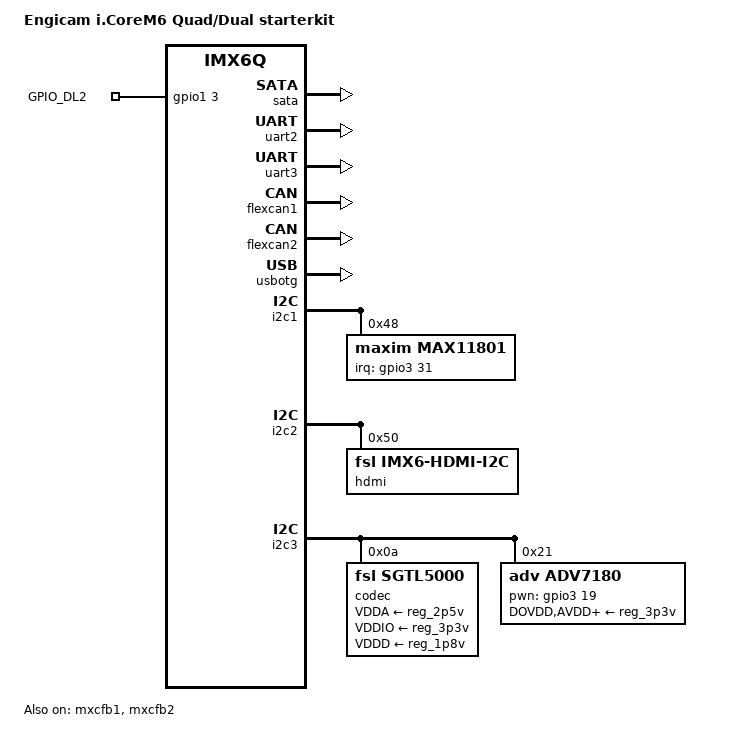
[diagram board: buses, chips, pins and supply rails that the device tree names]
/*
 * Copyright (C) 2013 Freescale Semiconductor, Inc.
 *
 * This program is free software; you can redistribute it and/or modify
 * it under the terms of the GNU General Public License version 2 as
 * published by the Free Software Foundation.
 */

/dts-v1/;

#include "imx6q.dtsi"
#include "icorem6qdl.dtsi"

/ {
	model = "Engicam i.CoreM6 Quad/Dual starterkit";
	compatible = "fsl,imx6-icore", "fsl,imx6q";

	sound {
		compatible = "fsl,imx6-icore-sgtl5000",
			     "fsl,imx-audio-sgtl5000";
		model = "imx6q-icore-sgtl5000";
		cpu-dai = <&ssi1>;
		audio-codec = <&codec>;
		audio-routing =
			"MIC_IN", "Mic Jack",
			"Mic Jack", "Mic Bias",
			"Headphone Jack", "HP_OUT";
		mux-int-port = <1>;
		mux-ext-port = <4>;
	};	

	gpio_export {
		compatible = "gpio-export";
		#size-cells = <0>;
		GPIO_DL2 {
		        gpio-export,name = "GPIO_DL2";
			gpio-export,output = <1>;
                        gpio-export,direction_may_change;
		        gpios = <&gpio1 3 0>;
		};
	};
};

&ldb {
	ipu_id = <0>;
	sec_ipu_id = <0>;
};

&mxcfb1 {
	status = "okay";
};

&mxcfb2 {
	status = "okay";
};

&sata {
	status = "okay";
};

&uart2 {
	status = "okay";
};

&uart3 {
	fsl,uart-has-rtscts;
	status = "okay";
};

&flexcan1 {
	status = "okay";
};

&flexcan2 {
	status = "okay";
};

&usbotg {
	status = "okay";
};

&i2c1 {

	max11801@48 {
		compatible = "maxim,max11801";
		reg = <0x48>;
		interrupt-parent = <&gpio3>;
		interrupts = <31 2>;
		work-mode = <0>;/*DCM mode*/
	};

};

&i2c2 {

	hdmi: edid@50 {
		compatible = "fsl,imx6-hdmi-i2c";
		reg = <0x50>;
	};
};

 &i2c3 {

	codec: sgtl5000@0a {
		compatible = "fsl,sgtl5000";
		reg = <0x0a>;
		clocks = <&clks 201>;
		VDDA-supply = <&reg_2p5v>;
		VDDIO-supply = <&reg_3p3v>;
		VDDD-supply = <&reg_1p8v>;
	};

	adv7180: adv7180@21 {
		compatible = "adv,adv7180";
		reg = <0x21>;
		pinctrl-names = "default";
		pinctrl-0 = <&pinctrl_ipu1_6>;
		clocks = <&clks 201>;
		clock-names = "csi_mclk";
		DOVDD-supply = <&reg_3p3v>; /* 3.3v, enabled via 2.8 VGEN6 */
		AVDD-supply = <&reg_3p3v>;  /* 1.8v */
		DVDD-supply = <&reg_3p3v>;  /* 1.8v */
		PVDD-supply = <&reg_3p3v>;  /* 1.8v */
		pwn-gpios = <&gpio3 19 0>;  /* put on not used pin */
		csi_id = <0>;
		mclk = <24000000>;
		mclk_source = <0>;
		cvbs = <1>;
	};
};

&iomuxc {
	pinctrl-names = "default";
	pinctrl-0 = <&pinctrl_hog>;	
	hog {
		pinctrl_hog: hoggrp {
			fsl,pins = <
				MX6QDL_PAD_EIM_D19__GPIO3_IO19 0x1f059 /* not used pin for ADV7180 driver compatibility */
				MX6QDL_PAD_GPIO_3__GPIO1_IO03 0x1f059 /* LED DL2*/
			>;
		};
	};
};
